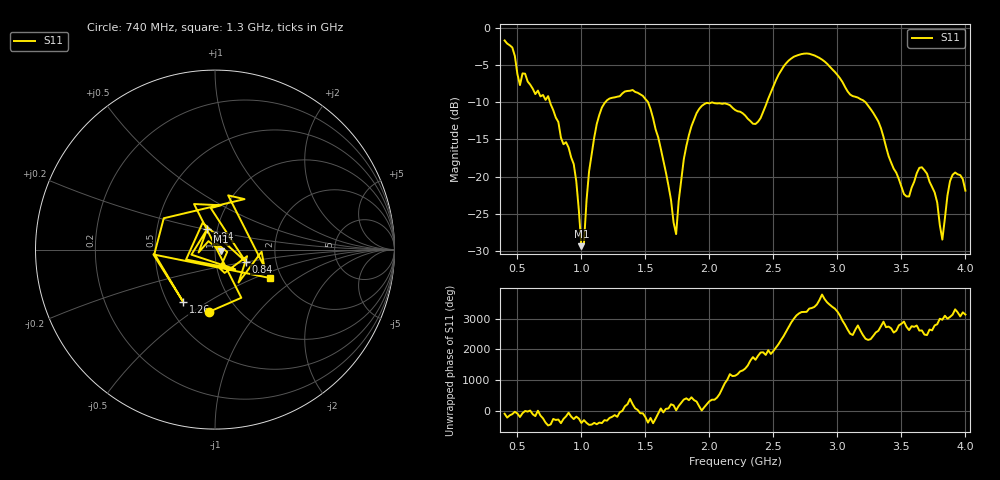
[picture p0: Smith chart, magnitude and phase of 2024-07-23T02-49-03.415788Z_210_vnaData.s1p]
!Created with skrf (http://scikit-rf.org).
# Hz S RI R 50.0
!freq ReS11 ImS11
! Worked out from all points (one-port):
!   181 points, 400 MHz to 4 GHz, reference 50 ohm
!   lowest |S11| = -29.4 dB at 1 GHz (marker M1), VSWR 1.07, Z = 53.4 - j0.926 ohm
!   |S11| at or under -10 dB: 754.8 MHz to 1.187 GHz (432.5 MHz wide, 44.5 % of centre); 1.521 GHz to 2.45 GHz (929 MHz wide, 46.8 % of centre); 3.219 GHz to end of sweep
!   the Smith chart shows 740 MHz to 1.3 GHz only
!   S11 on the Smith chart (normalised r, x): 740 MHz: 0.74, -0.58; 840 MHz: 1.39, -0.19; 940 MHz: 0.89, +0.20; 1.26 GHz: 0.60, -0.40; 1.3 GHz: 1.75, -0.63
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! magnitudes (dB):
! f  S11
! 400 MHz  -1.7
! 520 MHz  -7.7
! 740 MHz  -9.2
! 840 MHz  -14.8
! 860 MHz  -15.7
! 940 MHz  -18.3
! 1 GHz  -29.4
! 1.02 GHz  -29.0
! 1.06 GHz  -19.3
! 1.12 GHz  -12.9
! 1.26 GHz  -9.4
! 1.3 GHz  -9.2
! 1.52 GHz  -10.0
! 1.74 GHz  -27.7
! 1.76 GHz  -23.3
! 1.82 GHz  -15.9
! 1.92 GHz  -10.9
! 2.2 GHz  -11.0
! 2.38 GHz  -12.6
! 2.66 GHz  -3.9
! 3.1 GHz  -9.0
! 3.3 GHz  -12.0
! 3.56 GHz  -22.7
! 3.68 GHz  -19.2
! 3.76 GHz  -22.1
! 3.82 GHz  -28.5
! 3.9 GHz  -19.8
! 4 GHz  -21.9
